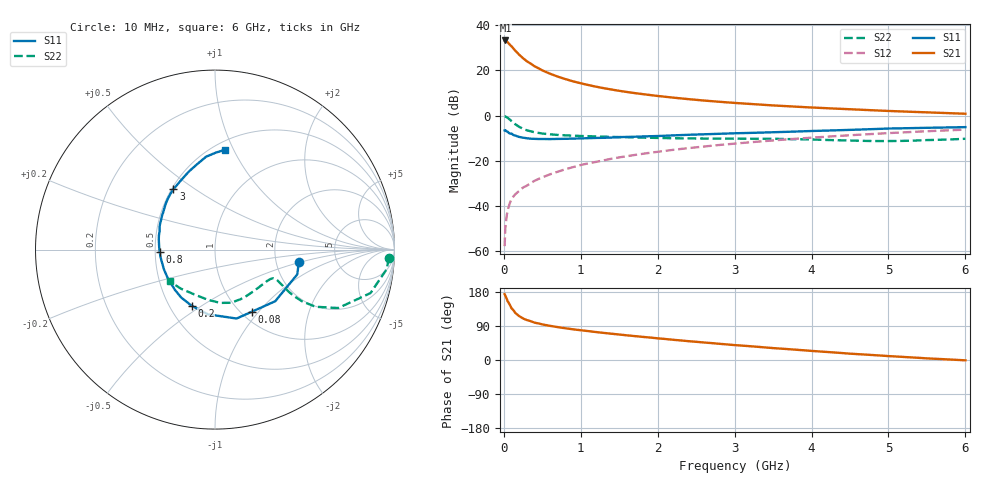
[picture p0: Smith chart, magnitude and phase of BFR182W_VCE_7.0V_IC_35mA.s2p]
! Infineon Technologies  Discrete & RF Semiconductors
! BFR182W
! VCE =  7.0 V,  IC =  35 mA
! Common Emitter S-Parameters:  Jan 2017
# GHz  S  MA  R  50
!  f  S11  S21  S12  S22
! GHz  MAG  ANG  MAG  ANG  MAG  ANG  MAG  ANG
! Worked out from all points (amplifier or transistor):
!   77 points, 10 MHz to 6 GHz, reference 50 ohm
!   highest |S21| = 33.3 dB at 20 MHz (marker M1)
!   |S21| within 3 dB of that: start of sweep to 110.3 MHz
!   unconditionally stable (mu >= 1): 613.8 MHz to 2.196 GHz
!   at 130 MHz: K = 0.53, MSG = 32.5 dB, |S12| = -35.5 dB
!   at 2.2 GHz: K = 1.00, MSG = 11.6 dB, |S12| = -15.1 dB
!   at 6 GHz: K = 0.85, MSG = 3.5 dB, |S12| = -6.2 dB
!   S11 on the Smith chart (normalised r, x): 10 MHz: 2.70, -0.46; 80 MHz: 1.12, -0.92; 200 MHz: 0.64, -0.45; 800 MHz: 0.53, -0.01; 3 GHz: 0.51, +0.41; 6 GHz: 0.57, +0.93
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0.01  0.4722 -8.1  46.07 174.0  0.0013 93.0  0.9701 -2.7
0.02  0.4786 -16.8  46.16 169.3  0.0034 97.1  0.9628 -6.5
0.05  0.442 -40.6  42.09 154.9  0.0081 77.0  0.8998 -15.6
0.08  0.4025 -59.1  36.88 144.7  0.0119 71.6  0.8135 -21.0
0.1  0.4025 -72.6  34.21 136.4  0.0144 69.6  0.7607 -25.3
0.15  0.3627 -96.2  27.32 124.1  0.0184 66.0  0.6456 -29.6
0.2  0.3387 -112.6  22.28 115.8  0.0217 67.6  0.5668 -30.7
0.25  0.3268 -125.2  18.69 109.6  0.0258 66.5  0.5128 -30.5
0.3  0.3167 -134.8  15.97 105.3  0.0284 68.1  0.4741 -29.8
0.4  0.3075 -148.7  12.37 98.6  0.0364 70.3  0.4295 -28.1
0.5  0.3051 -158.6  10.06 94.0  0.0432 71.2  0.4035 -27.0
0.6  0.304 -166.5  8.488 90.1  0.0505 72.5  0.3871 -26.2
0.7  0.3066 -172.6  7.322 86.8  0.0576 73.6  0.3758 -25.9
0.8  0.3081 -177.9  6.453 83.7  0.0655 73.9  0.3679 -26.0
1.1  0.3183 169.6  4.761 76.2  0.0884 73.7  0.3524 -27.5
1.5  0.3353 156.9  3.55 67.3  0.1196 72.4  0.3366 -32.2
2.1  0.3607 142.1  2.619 55.4  0.1672 69.0  0.3196 -42.9
3  0.4085 124.5  1.917 39.3  0.2411 62.5  0.3109 -62.8
3.1  0.4122 122.7  1.868 37.9  0.2495 61.6  0.3097 -64.9
4.1  0.4635 107.1  1.491 22.6  0.3351 52.7  0.2942 -86.7
5.1  0.5234 94.3  1.255 9.2  0.4201 42.8  0.2757 -117.6
6  0.5588 84.3  1.105 -0.9  0.4923 33.4  0.3086 -145.0
